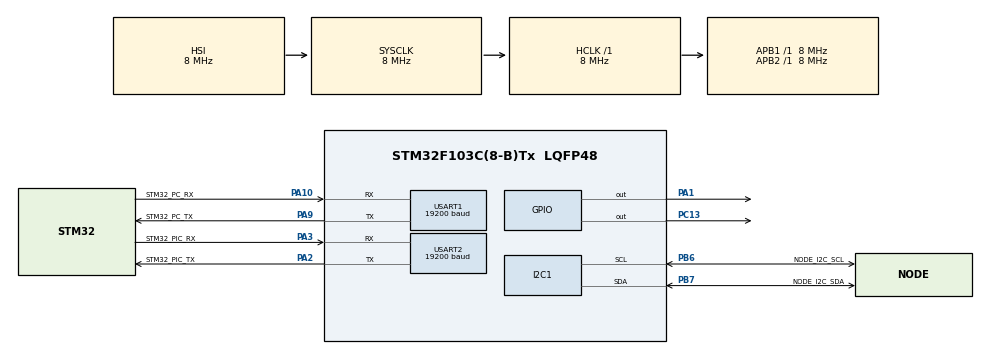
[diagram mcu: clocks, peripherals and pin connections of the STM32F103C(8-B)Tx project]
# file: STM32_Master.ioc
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Mcu.Family=STM32F1
Mcu.Name=STM32F103C(8-B)Tx
Mcu.Package=LQFP48
NVIC.PriorityGroup=NVIC_PRIORITYGROUP_4
PA1.Signal=GPIO_Output
PA10.GPIO_Label=STM32_PC_RX
PA10.Mode=Asynchronous
PA10.Signal=USART1_RX
PA13.Mode=Serial_Wire
PA13.Signal=SYS_JTMS-SWDIO
PA14.Mode=Serial_Wire
PA14.Signal=SYS_JTCK-SWCLK
PA2.GPIO_Label=STM32_PIC_TX
PA2.Mode=Asynchronous
PA2.Signal=USART2_TX
PA3.GPIO_Label=STM32_PIC_RX
PA3.Mode=Asynchronous
PA3.Signal=USART2_RX
PA9.GPIO_Label=STM32_PC_TX
PA9.Mode=Asynchronous
PA9.Signal=USART1_TX
PB6.GPIO_Label=NODE_I2C_SCL
PB6.Mode=I2C
PB6.Signal=I2C1_SCL
PB7.GPIO_Label=NODE_I2C_SDA
PB7.Mode=I2C
PB7.Signal=I2C1_SDA
PC13-TAMPER-RTC.Signal=GPIO_Output
PD0-OSC_IN.Mode=HSE-External-Oscillator
PD0-OSC_IN.Signal=RCC_OSC_IN
PD1-OSC_OUT.Mode=HSE-External-Oscillator
PD1-OSC_OUT.Signal=RCC_OSC_OUT
ProjectManager.HeapSize=0x200
ProjectManager.StackSize=0x400
ProjectManager.TargetToolchain=Makefile
RCC.AHBFreq_Value=8000000
RCC.APB1Freq_Value=8000000
RCC.APB1TimFreq_Value=8000000
RCC.APB2Freq_Value=8000000
RCC.APB2TimFreq_Value=8000000
RCC.HCLKFreq_Value=8000000
RCC.PLLMUL=RCC_PLL_MUL9
RCC.PLLSourceVirtual=RCC_PLLSOURCE_HSE
RCC.SYSCLKFreq_VALUE=8000000
RCC.USBFreq_Value=72000000
TIM2.Prescaler=7999
USART1.BaudRate=19200
USART1.VirtualMode=VM_ASYNC
USART2.BaudRate=19200
USART2.VirtualMode=VM_ASYNC
VP_TIM2_VS_ClockSourceINT.Mode=Internal
board=custom

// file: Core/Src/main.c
/* USER CODE BEGIN Header */
/**
  ******************************************************************************
  * @file           : main.c
  * @brief          : Main program body
  ******************************************************************************
  * @attention
  *
  * Copyright (c) 2026 STMicroelectronics.
  * All rights reserved.
  *
  * This software is licensed under terms that can be found in the LICENSE file
  * in the root directory of this software component.
  * If no LICENSE file comes with this software, it is provided AS-IS.
  *
  ******************************************************************************
  */
/* USER CODE END Header */
#include "main.h"

/* USER CODE BEGIN Includes */
#include <string.h>
/* USER CODE END Includes */

I2C_HandleTypeDef hi2c1;

TIM_HandleTypeDef htim2;

UART_HandleTypeDef huart1;
UART_HandleTypeDef huart2;

/* USER CODE BEGIN PV */
uint8_t rxChar = 0;
char rxBuffer[64];
uint8_t rxIndex = 0;
/* USER CODE END PV */

void SystemClock_Config(void);
static void MX_GPIO_Init(void);
static void MX_I2C1_Init(void);
static void MX_USART1_UART_Init(void);
static void MX_USART2_UART_Init(void);
static void MX_TIM2_Init(void);

int main(void)
{

  /* MCU Configuration--------------------------------------------------------*/

  /* Reset of all peripherals, Initializes the Flash interface and the Systick. */
  HAL_Init();

  /* Configure the system clock */
  SystemClock_Config();

  /* Initialize all configured peripherals */
  MX_GPIO_Init();
  MX_I2C1_Init();
  MX_USART1_UART_Init();
  MX_USART2_UART_Init();
  MX_TIM2_Init();

  /* Infinite loop */
  /* USER CODE BEGIN WHILE */
  while (1)
  {if (HAL_UART_Receive(&huart1, &rxChar, 1, 10) == HAL_OK)
{
    if (rxChar == '\r' || rxChar == '\n')
    {
        // Ignore line endings
    }
    else if (rxIndex < sizeof(rxBuffer) - 1)
    {
        rxBuffer[rxIndex++] = (char)rxChar;
        rxBuffer[rxIndex] = '\0';
    }
    else
    {
        rxIndex = 0;
        rxBuffer[0] = '\0';
        HAL_UART_Transmit(&huart1, (uint8_t*)"#ERR:BUFFER_OVERFLOW;\r\n", 23, HAL_MAX_DELAY);
    }

    if (rxChar == ';')
    {
        if (strcmp(rxBuffer, "@PING?;") == 0)
        {
            HAL_UART_Transmit(&huart1, (uint8_t*)"#PONG;\r\n", 8, HAL_MAX_DELAY);
        }
        else if (strcmp(rxBuffer, "@STATUS?;") == 0)
        {
            HAL_UART_Transmit(&huart1, (uint8_t*)"#STATUS:STM32:OK;\r\n", 19, HAL_MAX_DELAY);
        }
        else if (strcmp(rxBuffer, "@ID?;") == 0)
        {
            HAL_UART_Transmit(&huart1, (uint8_t*)"#ID:STM32_MASTER:AFLC_UART_V1;\r\n", 34, HAL_MAX_DELAY);
        }
        else if (strcmp(rxBuffer, "@PIC:SAFE?;") == 0)
        {
            HAL_UART_Transmit(&huart1, (uint8_t*)"#PIC:SAFE:NOT_CONNECTED;\r\n", 26, HAL_MAX_DELAY);
        }
        else if (strcmp(rxBuffer, "@MODE:MANUAL;") == 0)
        {
            HAL_UART_Transmit(&huart1, (uint8_t*)"#MODE:MANUAL:OK;\r\n", 18, HAL_MAX_DELAY);
        }
        else if (strcmp(rxBuffer, "@MODE:AUTO;") == 0)
        {
            HAL_UART_Transmit(&huart1, (uint8_t*)"#MODE:AUTO:OK;\r\n", 16, HAL_MAX_DELAY);
        }
        else if (strcmp(rxBuffer, "@MODE:SAFE;") == 0)
        {
            HAL_UART_Transmit(&huart1, (uint8_t*)"#MODE:SAFE:OK;\r\n", 16, HAL_MAX_DELAY);
        }
        else
        {
            HAL_UART_Transmit(&huart1, (uint8_t*)"#ERR:BAD_CMD;\r\n", 15, HAL_MAX_DELAY);
        }

        rxIndex = 0;
        rxBuffer[0] = '\0';

        HAL_GPIO_TogglePin(GPIOC, GPIO_PIN_13);
    }

}

    /* USER CODE END WHILE */

  }
}

void SystemClock_Config(void)
{
  RCC_OscInitTypeDef RCC_OscInitStruct = {0};
  RCC_ClkInitTypeDef RCC_ClkInitStruct = {0};

  /** Initializes the RCC Oscillators according to the specified parameters
  * in the RCC_OscInitTypeDef structure.
  */
  RCC_OscInitStruct.OscillatorType = RCC_OSCILLATORTYPE_HSI;
  RCC_OscInitStruct.HSIState = RCC_HSI_ON;
  RCC_OscInitStruct.HSICalibrationValue = RCC_HSICALIBRATION_DEFAULT;
  RCC_OscInitStruct.PLL.PLLState = RCC_PLL_NONE;
  if (HAL_RCC_OscConfig(&RCC_OscInitStruct) != HAL_OK)
  {
    Error_Handler();
  }

  /** Initializes the CPU, AHB and APB buses clocks
  */
  RCC_ClkInitStruct.ClockType = RCC_CLOCKTYPE_HCLK|RCC_CLOCKTYPE_SYSCLK
                              |RCC_CLOCKTYPE_PCLK1|RCC_CLOCKTYPE_PCLK2;
  RCC_ClkInitStruct.SYSCLKSource = RCC_SYSCLKSOURCE_HSI;
  RCC_ClkInitStruct.AHBCLKDivider = RCC_SYSCLK_DIV1;
  RCC_ClkInitStruct.APB1CLKDivider = RCC_HCLK_DIV1;
  RCC_ClkInitStruct.APB2CLKDivider = RCC_HCLK_DIV1;

  if (HAL_RCC_ClockConfig(&RCC_ClkInitStruct, FLASH_LATENCY_0) != HAL_OK)
  {
    Error_Handler();
  }
}

static void MX_I2C1_Init(void)
{

  hi2c1.Instance = I2C1;
  hi2c1.Init.ClockSpeed = 100000;
  hi2c1.Init.DutyCycle = I2C_DUTYCYCLE_2;
  hi2c1.Init.OwnAddress1 = 0;
  hi2c1.Init.AddressingMode = I2C_ADDRESSINGMODE_7BIT;
  hi2c1.Init.DualAddressMode = I2C_DUALADDRESS_DISABLE;
  hi2c1.Init.OwnAddress2 = 0;
  hi2c1.Init.GeneralCallMode = I2C_GENERALCALL_DISABLE;
  hi2c1.Init.NoStretchMode = I2C_NOSTRETCH_DISABLE;
  if (HAL_I2C_Init(&hi2c1) != HAL_OK)
  {
    Error_Handler();
  }

}

static void MX_TIM2_Init(void)
{

  TIM_ClockConfigTypeDef sClockSourceConfig = {0};
  TIM_MasterConfigTypeDef sMasterConfig = {0};

  htim2.Instance = TIM2;
  htim2.Init.Prescaler = 7999;
  htim2.Init.CounterMode = TIM_COUNTERMODE_UP;
  htim2.Init.Period = 65535;
  htim2.Init.ClockDivision = TIM_CLOCKDIVISION_DIV1;
  htim2.Init.AutoReloadPreload = TIM_AUTORELOAD_PRELOAD_DISABLE;
  if (HAL_TIM_Base_Init(&htim2) != HAL_OK)
  {
    Error_Handler();
  }
  sClockSourceConfig.ClockSource = TIM_CLOCKSOURCE_INTERNAL;
  if (HAL_TIM_ConfigClockSource(&htim2, &sClockSourceConfig) != HAL_OK)
  {
    Error_Handler();
  }
  sMasterConfig.MasterOutputTrigger = TIM_TRGO_RESET;
  sMasterConfig.MasterSlaveMode = TIM_MASTERSLAVEMODE_DISABLE;
  if (HAL_TIMEx_MasterConfigSynchronization(&htim2, &sMasterConfig) != HAL_OK)
  {
    Error_Handler();
  }

}

static void MX_USART1_UART_Init(void)
{

  huart1.Instance = USART1;
  huart1.Init.BaudRate = 19200;
  huart1.Init.WordLength = UART_WORDLENGTH_8B;
  huart1.Init.StopBits = UART_STOPBITS_1;
  huart1.Init.Parity = UART_PARITY_NONE;
  huart1.Init.Mode = UART_MODE_TX_RX;
  huart1.Init.HwFlowCtl = UART_HWCONTROL_NONE;
  huart1.Init.OverSampling = UART_OVERSAMPLING_16;
  if (HAL_UART_Init(&huart1) != HAL_OK)
  {
    Error_Handler();
  }

}

static void MX_USART2_UART_Init(void)
{

  huart2.Instance = USART2;
  huart2.Init.BaudRate = 19200;
  huart2.Init.WordLength = UART_WORDLENGTH_8B;
  huart2.Init.StopBits = UART_STOPBITS_1;
  huart2.Init.Parity = UART_PARITY_NONE;
  huart2.Init.Mode = UART_MODE_TX_RX;
  huart2.Init.HwFlowCtl = UART_HWCONTROL_NONE;
  huart2.Init.OverSampling = UART_OVERSAMPLING_16;
  if (HAL_UART_Init(&huart2) != HAL_OK)
  {
    Error_Handler();
  }

}

static void MX_GPIO_Init(void)
{
  GPIO_InitTypeDef GPIO_InitStruct = {0};

  /* GPIO Ports Clock Enable */
  __HAL_RCC_GPIOC_CLK_ENABLE();
  __HAL_RCC_GPIOD_CLK_ENABLE();
  __HAL_RCC_GPIOA_CLK_ENABLE();
  __HAL_RCC_GPIOB_CLK_ENABLE();

  /*Configure GPIO pin Output Level */
  HAL_GPIO_WritePin(GPIOC, GPIO_PIN_13, GPIO_PIN_RESET);

  /*Configure GPIO pin Output Level */
  HAL_GPIO_WritePin(GPIOA, GPIO_PIN_1, GPIO_PIN_RESET);

  /*Configure GPIO pin : PC13 */
  GPIO_InitStruct.Pin = GPIO_PIN_13;
  GPIO_InitStruct.Mode = GPIO_MODE_OUTPUT_PP;
  GPIO_InitStruct.Pull = GPIO_NOPULL;
  GPIO_InitStruct.Speed = GPIO_SPEED_FREQ_LOW;
  HAL_GPIO_Init(GPIOC, &GPIO_InitStruct);

  /*Configure GPIO pin : PA1 */
  GPIO_InitStruct.Pin = GPIO_PIN_1;
  GPIO_InitStruct.Mode = GPIO_MODE_OUTPUT_PP;
  GPIO_InitStruct.Pull = GPIO_NOPULL;
  GPIO_InitStruct.Speed = GPIO_SPEED_FREQ_LOW;
  HAL_GPIO_Init(GPIOA, &GPIO_InitStruct);

}

void Error_Handler(void)
{
  __disable_irq();
  while (1)
  {
  }
}
